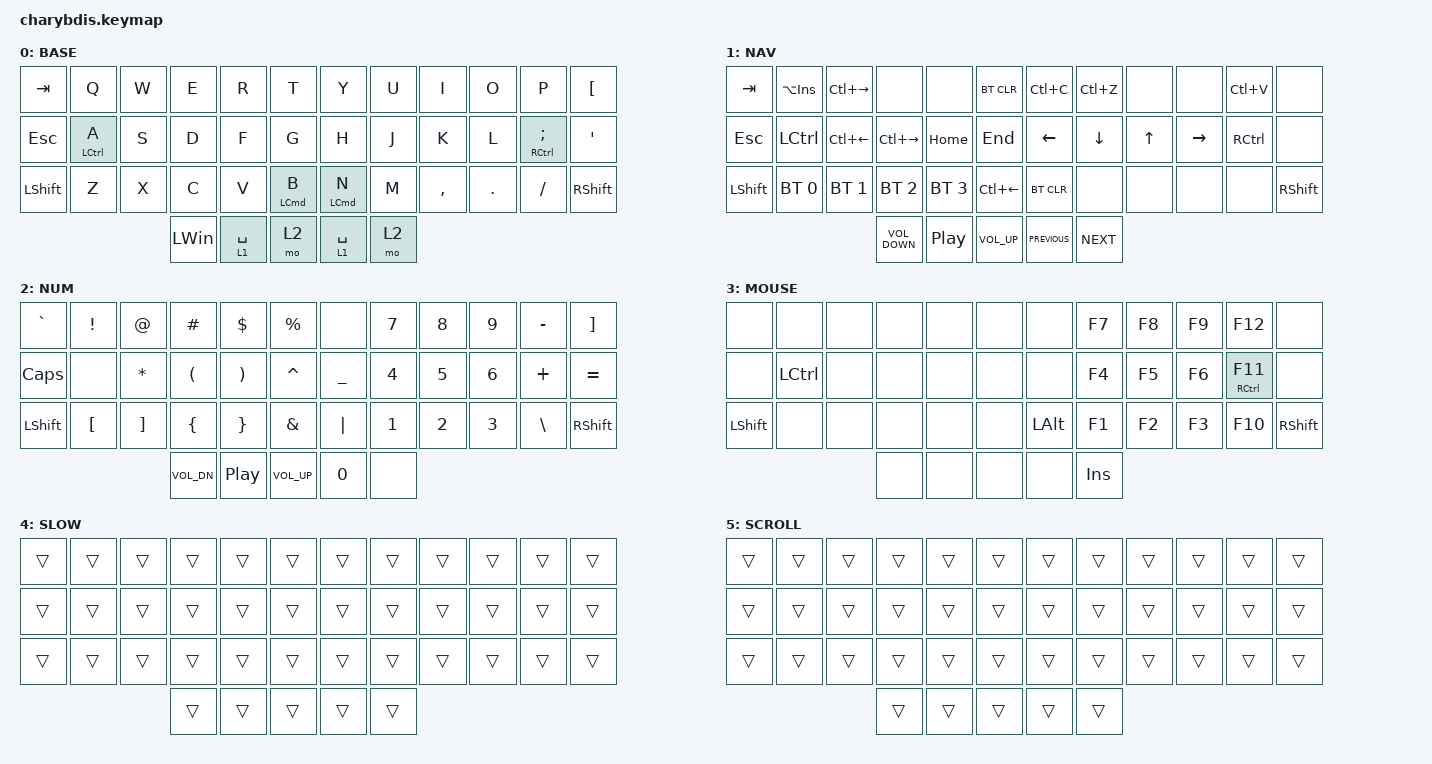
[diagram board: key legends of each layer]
#include <dt-bindings/zmk/mouse.h>
#include <behaviors/mouse_keys.dtsi>
#include <behaviors.dtsi>
#include <dt-bindings/zmk/bt.h>
#include <dt-bindings/zmk/keys.h>
#include <dt-bindings/zmk/pointing.h>

#define U_TAPPING_TERM 200

/ {
    /* input config for mouse move mode */

    trackball_listener {
        compatible = "zmk,input-behavior-listener";
        device = <&vtrackball>;
        layers = <0 1 2 3>;
        evt-type = <INPUT_EV_REL>;
        x-input-code = <INPUT_REL_X>;
        y-input-code = <INPUT_REL_Y>;
        scale-multiplier = <4>;
        scale-divisor = <5>;

        // bindings = <&ib_toggle_layer 7>;
    };

    /* input config for snipe mode */

    trackball_snipe_listener {
        compatible = "zmk,input-behavior-listener";
        device = <&vtrackball>;
        layers = <4>;
        evt-type = <INPUT_EV_REL>;
        x-input-code = <INPUT_REL_X>;
        y-input-code = <INPUT_REL_Y>;
        scale-multiplier = <1>;
        scale-divisor = <6>;
    };

    /* input config for mouse scroll mode */

    trackball_scroll_listener {
        compatible = "zmk,input-behavior-listener";
        device = <&vtrackball>;
        layers = <5>;
        evt-type = <INPUT_EV_REL>;
        x-input-code = <INPUT_REL_HWHEEL>;
        y-input-code = <INPUT_REL_WHEEL>;
        y-invert;
        bindings = <&ib_hwheel_scaler 1 14>, <&ib_wheel_scaler 1 14>;
    };

    /* define a resolution down scaler only for INPUT_REL_WHEEL */

    ib_wheel_scaler: ib_wheel_scaler {
        compatible = "zmk,input-behavior-scaler";
        #binding-cells = <2>;
        evt-type = <INPUT_EV_REL>;
        input-code = <INPUT_REL_WHEEL>;
    };

    /* define a resolution down scaler for INPUT_REL_HWHEEL (horizontal scroll) */

    ib_hwheel_scaler: ib_hwheel_scaler {
        compatible = "zmk,input-behavior-scaler";
        #binding-cells = <2>;  // Allows you to pass parameters (multiplier and divisor)
        evt-type = <INPUT_EV_REL>;
        input-code = <INPUT_REL_HWHEEL>;  // Apply this scaler to horizontal scroll events
    };

    /* adjust cooldown waiting period for mouse key layer after activated */

    ib_toggle_layer: ib_toggle_layer {
        compatible = "zmk,input-behavior-tog-layer";
        #binding-cells = <1>;
        time-to-live-ms = <750>;
    };

    // ╭──────┬──────┬──────┬──────┬──────┬──────╮  ╭──────┬──────┬──────┬──────┬──────┬──────╮
    //    00     01     02     03    04      05        06     07     08     09     10     11
    // ├──────┼──────┼──────┼──────┼──────┼──────┤  ├──────┼──────┼──────┼──────┼──────┼──────┤
    //    12     13     14     15    16      17        18     19     20     21     22     23
    // ├──────┼──────┼──────┼──────┼──────┼──────┤  ├──────┼──────┼──────┼──────┼──────┼──────┤
    //    24     25     26     27    28      29        30     31     32     33     34     35
    // ╰──────┴──────┴──────┼──────┼──────┼──────┤  ├──────┼──────┼──────┴──────┴──────┴──────╯
    //                         36     37     38        39     40
    //                      ╰──────┴──────┴──────╯  ╰──────┴──────╯
    // #define BASE    0
    // #define NUM     1
    // #define NAV     2
    // #define MOUSE   3
    // #define SLOW    4
    // #define SCROLL  5

    combos {
        compatible = "zmk,combos";

        ScrollLayer {
            bindings = <&tog 5>;
            key-positions = <32 33>;
        };

        Enter {
            bindings = <&kp ENTER>;
            key-positions = <8 9>;
        };

        backspace {
            bindings = <&kp BACKSPACE>;
            key-positions = <7 8>;
        };

        delete {
            bindings = <&kp DELETE>;
            key-positions = <2 3>;
        };

        LeftClick {
            bindings = <&mkp LCLK>;
            key-positions = <19 20>;
        };

        RightClick {
            bindings = <&mkp RCLK>;
            key-positions = <20 21>;
        };

        MiddleClick {
            bindings = <&mkp MCLK>;
            key-positions = <21 22>;
        };

        win {
            bindings = <&kp LEFT_WIN>;
            key-positions = <31 32>;
        };

        insert {
            bindings = <&kp INSERT>;
            key-positions = <33 34>;
        };
    };

    behaviors {
        u_mt: u_mt {
            compatible = "zmk,behavior-hold-tap";
            label = "u_mt";
            #binding-cells = <2>;
            tapping_term_ms = <U_TAPPING_TERM>;
            flavor = "tap-preferred";
            bindings = <&kp>, <&kp>;
        };

        hml: hml {
            compatible = "zmk,behavior-hold-tap";
            label = "HML";
            bindings = <&kp>, <&kp>;

            #binding-cells = <2>;
            tapping-term-ms = <200>;
            quick-tap-ms = <100>;
            require-prior-idle-ms = <100>;
            flavor = "balanced";
            hold-trigger-key-positions = <6 7 8 9 10 11 18 19 20 21 22 23 30 31 32 33 34 35 39 40>;
        };

        hmr: hmr {
            compatible = "zmk,behavior-hold-tap";
            label = "HMR";
            bindings = <&kp>, <&kp>;

            #binding-cells = <2>;
            tapping-term-ms = <200>;
            quick-tap-ms = <100>;
            require-prior-idle-ms = <100>;
            flavor = "balanced";
            hold-trigger-key-positions = <0 1 2 3 4 5 12 13 14 15 16 17 24 25 26 27 28 29 36 37 38>;
        };

        mo_kp: mo_kp {
            compatible = "zmk,behavior-hold-tap";
            label = "MO_KP";
            bindings = <&mo>, <&kp>;

            #binding-cells = <2>;
            tapping-term-ms = <200>;
            quick-tap-ms = <100>;
            require-prior-idle-ms = <100>;
            flavor = "balanced";
            hold-trigger-key-positions = <0 1 2 3 4 5 6 7 8 9 10 11 12 13 14 15 16 17 18 19 20 21 22 23 24 25 26 27 28 29 30 31 32 33 34 35 36 37 38 39 40>;
        };
    };

    keymap {
        compatible = "zmk,keymap";

        BASE {
            bindings = <
&kp TAB         &kp Q                &kp W  &kp E         &kp R        &kp T                  &kp Y                &kp U  &kp I      &kp O    &kp P                    &kp LEFT_BRACKET
&kp ESCAPE      &hml LEFT_CONTROL A  &kp S  &kp D         &kp F        &kp G                  &kp H                &kp J  &kp K      &kp L    &hmr RIGHT_CONTROL SEMI  &kp APOS
&kp LEFT_SHIFT  &kp Z                &kp X  &kp C         &kp V        &hml LEFT_COMMAND B    &hmr LEFT_COMMAND N  &kp M  &kp COMMA  &kp DOT  &kp FSLH                 &kp RIGHT_SHIFT
                                            &kp LEFT_WIN  &lt 1 SPACE  &mo 2                  &lt 1 SPACE          &mo 2
            >;
        };

        NAV {
            bindings = <
&kp TAB         &kp LA(INSERT)    &kp LC(RIGHT)  &none              &none             &bt BT_CLR         &kp LC(C)       &kp LC(Z)   &none         &none      &kp LC(V)          &none
&kp ESCAPE      &kp LEFT_CONTROL  &kp LC(LEFT)   &kp LC(RIGHT)      &kp HOME          &kp END            &kp LEFT        &kp DOWN    &kp UP_ARROW  &kp RIGHT  &kp RIGHT_CONTROL  &none
&kp LEFT_SHIFT  &bt BT_SEL 0      &bt BT_SEL 1   &bt BT_SEL 2       &bt BT_SEL 3      &kp LC(LEFT)       &bt BT_CLR      &none       &none         &none      &none              &kp RIGHT_SHIFT
                                                 &kp C_VOLUME_DOWN  &kp C_PLAY_PAUSE  &kp C_VOLUME_UP    &kp C_PREVIOUS  &kp C_NEXT
            >;
        };

        NUM {
            bindings = <
&kp GRAVE       &kp EXCL          &kp AT             &kp HASH              &kp DLLR               &kp PRCNT        &none      &kp N7  &kp N8  &kp N9  &kp MINUS      &kp RIGHT_BRACKET
&kp CAPSLOCK    &none             &kp ASTERISK       &kp LEFT_PARENTHESIS  &kp RIGHT_PARENTHESIS  &kp CARET        &kp UNDER  &kp N4  &kp N5  &kp N6  &kp PLUS       &kp EQUAL
&kp LEFT_SHIFT  &kp LEFT_BRACKET  &kp RIGHT_BRACKET  &kp LEFT_BRACE        &kp RIGHT_BRACE        &kp AMPERSAND    &kp PIPE   &kp N1  &kp N2  &kp N3  &kp BACKSLASH  &kp RIGHT_SHIFT
                                                     &kp C_VOL_DN          &kp C_PLAY_PAUSE       &kp C_VOL_UP     &kp N0     &none
            >;
        };

        MOUSE {
            bindings = <
&none           &none             &none  &none  &none  &none    &none         &kp F7      &kp F8  &kp F9  &kp F12                 &none
&none           &kp LEFT_CONTROL  &none  &none  &none  &none    &none         &kp F4      &kp F5  &kp F6  &hmr RIGHT_CONTROL F11  &none
&kp LEFT_SHIFT  &none             &none  &none  &none  &none    &kp LEFT_ALT  &kp F1      &kp F2  &kp F3  &kp F10                 &kp RIGHT_SHIFT
                                         &none  &none  &none    &none         &kp INSERT
            >;
        };

        SLOW {
            bindings = <
&trans  &trans  &trans  &trans  &trans  &trans    &trans  &trans  &trans  &trans  &trans  &trans
&trans  &trans  &trans  &trans  &trans  &trans    &trans  &trans  &trans  &trans  &trans  &trans
&trans  &trans  &trans  &trans  &trans  &trans    &trans  &trans  &trans  &trans  &trans  &trans
                        &trans  &trans  &trans    &trans  &trans
            >;
        };

        SCROLL {
            bindings = <
&trans  &trans  &trans  &trans  &trans  &trans    &trans  &trans  &trans  &trans  &trans  &trans
&trans  &trans  &trans  &trans  &trans  &trans    &trans  &trans  &trans  &trans  &trans  &trans
&trans  &trans  &trans  &trans  &trans  &trans    &trans  &trans  &trans  &trans  &trans  &trans
                        &trans  &trans  &trans    &trans  &trans
            >;
        };
    };
};
